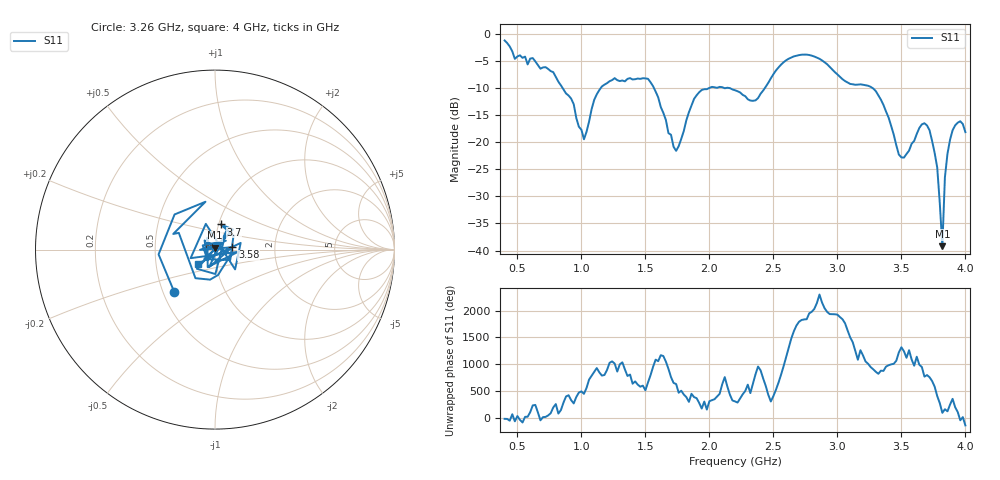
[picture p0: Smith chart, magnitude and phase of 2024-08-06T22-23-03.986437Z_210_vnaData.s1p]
!Created with skrf (http://scikit-rf.org).
# Hz S RI R 50.0
!freq ReS11 ImS11
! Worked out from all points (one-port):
!   181 points, 400 MHz to 4 GHz, reference 50 ohm
!   lowest |S11| = -39.2 dB at 3.82 GHz (marker M1), VSWR 1.02, Z = 49.9 + j1.09 ohm
!   |S11| at or under -10 dB: 854.9 MHz to 1.149 GHz (294.4 MHz wide, 29.4 % of centre); 1.568 GHz to 1.992 GHz (424.4 MHz wide, 23.8 % of centre); 3.279 GHz to end of sweep (the widest 3 of 4)
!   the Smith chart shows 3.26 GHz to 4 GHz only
!   S11 on the Smith chart (normalised r, x): 3.26 GHz: 0.57, -0.30; 3.58 GHz: 1.21, +0.03; 3.7 GHz: 1.02, +0.29; 4 GHz: 0.81, -0.13
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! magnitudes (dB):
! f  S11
! 400 MHz  -1.1
! 480 MHz  -4.5
! 860 MHz  -10.2
! 940 MHz  -12.9
! 1.02 GHz  -19.4
! 1.14 GHz  -10.3
! 1.3 GHz  -8.6
! 1.52 GHz  -8.2
! 1.72 GHz  -20.8
! 1.76 GHz  -20.7
! 1.92 GHz  -10.7
! 2.2 GHz  -10.3
! 2.36 GHz  -12.2
! 2.66 GHz  -4.1
! 2.86 GHz  -4.5
! 3.1 GHz  -9.2
! 3.26 GHz  -9.7
! 3.36 GHz  -13.1
! 3.48 GHz  -22.2
! 3.56 GHz  -21.5
! 3.58 GHz  -20.2
! 3.7 GHz  -16.9
! 3.78 GHz  -24.7
! 3.82 GHz  -39.2
! 3.84 GHz  -26.4
! 3.88 GHz  -19.5
! 3.96 GHz  -16.1
! 4 GHz  -18.1
